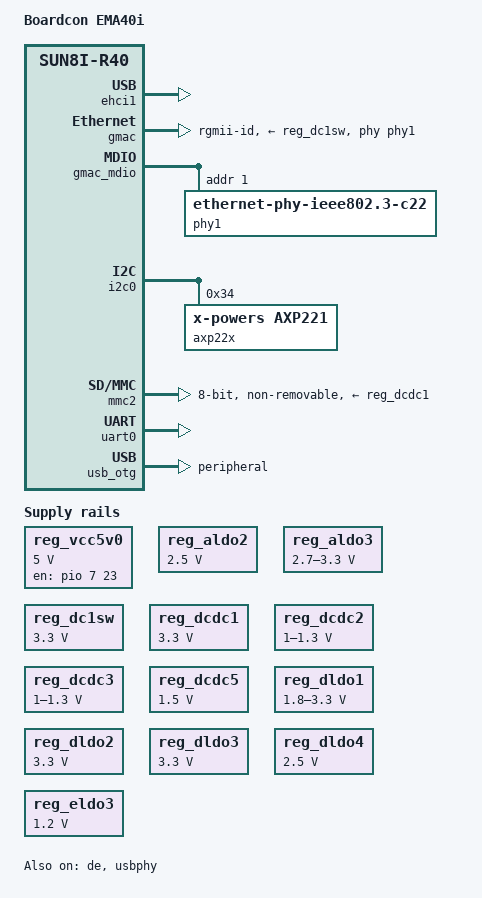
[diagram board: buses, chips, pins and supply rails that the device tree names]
// SPDX-License-Identifier: (GPL-2.0+ OR MIT)
// Copyright 2026 Fabio Estevam <festevam@gmail.com>

/dts-v1/;
#include "sun8i-r40.dtsi"
#include "sun8i-r40-cpu-opp.dtsi"

#include <dt-bindings/gpio/gpio.h>

/ {
	model = "Boardcon EMA40i";
	compatible = "boardcon,ema40i", "allwinner,sun8i-r40";

	aliases {
		ethernet0 = &gmac;
		serial0 = &uart0;
	};

	chosen {
		stdout-path = "serial0:115200n8";
	};

	reg_vcc5v0: vcc5v0 {
		compatible = "regulator-fixed";
		regulator-name = "vcc5v0";
		regulator-min-microvolt = <5000000>;
		regulator-max-microvolt = <5000000>;
		gpio = <&pio 7 23 GPIO_ACTIVE_HIGH>; /* PH23 */
		enable-active-high;
	};
};

&cpu0 {
	cpu-supply = <&reg_dcdc2>;
};

&de {
	status = "okay";
};

&ehci1 {
	status = "okay";
};

&gmac {
	pinctrl-names = "default";
	pinctrl-0 = <&gmac_rgmii_pins>;
	phy-handle = <&phy1>;
	phy-mode = "rgmii-id";
	phy-supply = <&reg_dc1sw>;
	status = "okay";
};

&gmac_mdio {
	phy1: ethernet-phy@1 {
		compatible = "ethernet-phy-ieee802.3-c22";
		reg = <1>;
	};
};

&i2c0 {
	status = "okay";

	axp22x: pmic@34 {
		compatible = "x-powers,axp221";
		reg = <0x34>;
		interrupt-parent = <&nmi_intc>;
		interrupts = <0 IRQ_TYPE_LEVEL_LOW>;
	};
};

#include "axp22x.dtsi"

&mmc2 {
	vmmc-supply = <&reg_dcdc1>;
	vqmmc-supply = <&reg_dcdc1>;
	bus-width = <8>;
	non-removable;
	status = "okay";
};

&pio {
	pinctrl-names = "default";
	pinctrl-0 = <&clk_out_a_pin>;
	vcc-pa-supply = <&reg_aldo2>;
	vcc-pc-supply = <&reg_dcdc1>;
	vcc-pd-supply = <&reg_dcdc1>;
	vcc-pe-supply = <&reg_eldo1>;
	vcc-pf-supply = <&reg_dcdc1>;
	vcc-pg-supply = <&reg_dldo1>;
};

&reg_aldo2 {
	regulator-min-microvolt = <2500000>;
	regulator-max-microvolt = <2500000>;
	regulator-name = "vcc-pa";
};

&reg_aldo3 {
	regulator-always-on;
	regulator-min-microvolt = <2700000>;
	regulator-max-microvolt = <3300000>;
	regulator-name = "avcc";
};

&reg_dc1sw {
	regulator-min-microvolt = <3300000>;
	regulator-max-microvolt = <3300000>;
	regulator-name = "vcc-gmac-phy";
};

&reg_dcdc1 {
	regulator-always-on;
	regulator-min-microvolt = <3300000>;
	regulator-max-microvolt = <3300000>;
	regulator-name = "vcc-3v3";
};

&reg_dcdc2 {
	regulator-always-on;
	regulator-min-microvolt = <1000000>;
	regulator-max-microvolt = <1300000>;
	regulator-name = "vdd-cpu";
};

&reg_dcdc3 {
	regulator-always-on;
	regulator-min-microvolt = <1000000>;
	regulator-max-microvolt = <1300000>;
	regulator-name = "vdd-sys";
};

&reg_dcdc5 {
	regulator-always-on;
	regulator-min-microvolt = <1500000>;
	regulator-max-microvolt = <1500000>;
	regulator-name = "vcc-dram";
};

&reg_dldo1 {
	regulator-min-microvolt = <1800000>;
	regulator-max-microvolt = <3300000>;
	regulator-name = "vcc-wifi-io";
};

&reg_dldo2 {
	regulator-always-on;
	regulator-min-microvolt = <3300000>;
	regulator-max-microvolt = <3300000>;
	regulator-name = "vcc-wifi";
};

&reg_dldo3 {
	regulator-always-on;
	regulator-min-microvolt = <3300000>;
	regulator-max-microvolt = <3300000>;
	regulator-name = "vcc-wifi-2";
};

&reg_dldo4 {
	regulator-min-microvolt = <2500000>;
	regulator-max-microvolt = <2500000>;
	regulator-name = "vdd2v5-sata";
};

&reg_eldo3 {
	regulator-min-microvolt = <1200000>;
	regulator-max-microvolt = <1200000>;
	regulator-name = "vdd1v2-sata";
};

&uart0 {
	pinctrl-names = "default";
	pinctrl-0 = <&uart0_pb_pins>;
	status = "okay";
};

&usb_otg {
	dr_mode = "peripheral";
	status = "okay";
};

&usbphy {
	usb0_vbus-supply = <&reg_vcc5v0>;
	usb1_vbus-supply = <&reg_vcc5v0>;
	status = "okay";
};
